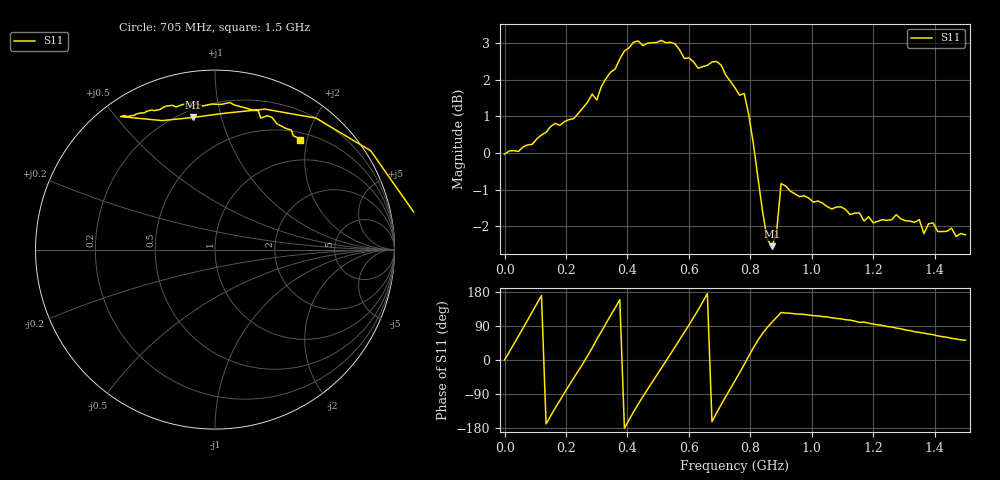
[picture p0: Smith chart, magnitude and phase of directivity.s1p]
! Created with skrf 1.8.0 (http://scikit-rf.org).
# Hz S RI R 50.0
!freq ReS11 ImS11
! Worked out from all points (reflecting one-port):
!   101 points, 50 kHz to 1.5 GHz, reference 50 ohm
!   lowest |S11| = -2.5 dB at 870 MHz (marker M1), VSWR 6.88, Z = 12.3 + j40.9 ohm
!   phase of S11 starts at 0 deg and turns +1132 deg over the sweep
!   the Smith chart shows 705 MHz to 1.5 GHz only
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50000  0.9967 0.00137
6.0048e7  0.1032 1.014
9.0047e7  -0.6194 0.8201
1.20046e8  -1.042 0.1853
1.50045e8  -0.9153 -0.5863
1.950435e8  0.0646 -1.102
2.40042e8  0.9956 -0.5407
2.70041e8  1.152 0.2218
3.0004e8  0.6881 0.9602
3.30039e8  -0.1376 1.256
3.750375e8  -1.256 0.4773
4.20036e8  -1.033 -0.9693
4.650345e8  0.2989 -1.38
4.950335e8  1.078 -0.9168
5.250325e8  1.412 -0.0736
5.70031e8  0.8143 1.116
6.150295e8  -0.5008 1.234
6.60028e8  -1.312 0.1135
7.050265e8  -0.6121 -1.167
7.50025e8  0.7084 -1.002
7.950235e8  1.107 0.2094
8.250225e8  0.5616 0.7329
8.70021e8  -0.1224 0.7362
9.0002e8  -0.5253 0.7409
9.450185e8  -0.4654 0.7464
1.125012e9  -0.2171 0.7949
1.320006e9  0.1734 0.7885
1.5e9  0.4725 0.6122
